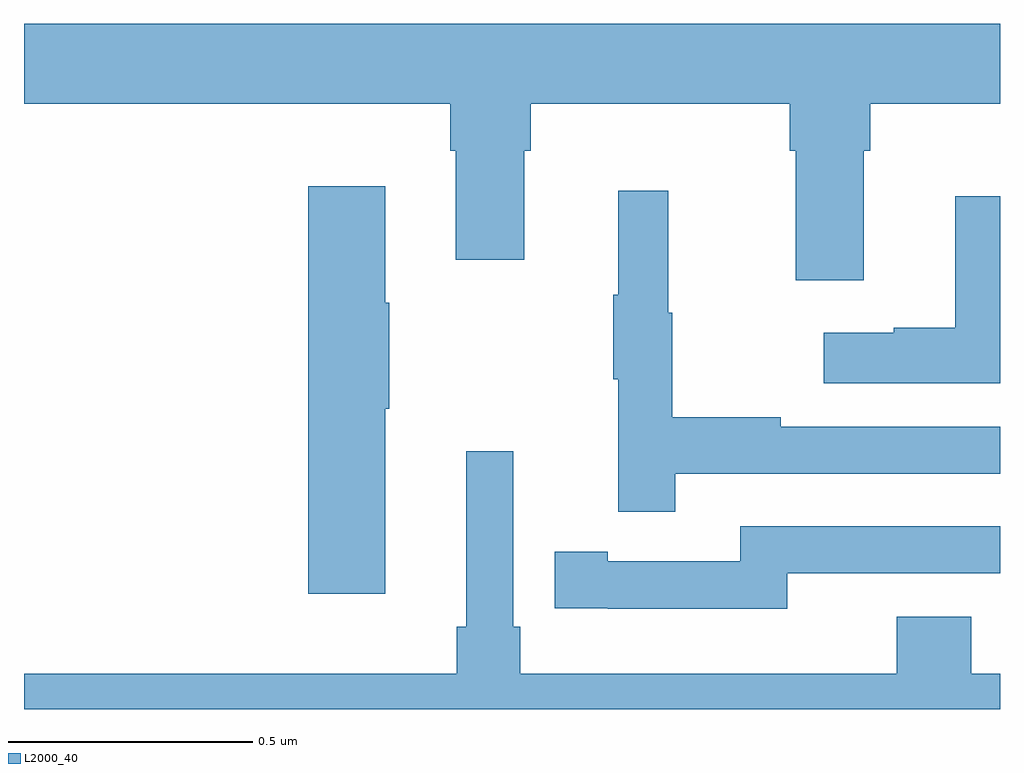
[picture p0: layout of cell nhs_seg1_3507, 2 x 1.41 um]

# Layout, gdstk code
import gdstk
lib = gdstk.Library(unit=1e-6, precision=1e-09)
def P(c, l, *ps):  # polygons
    for p in ps: c.add(gdstk.Polygon(p, *l))
L2000_40 = (2000, 40)

nhs_seg1_3507 = lib.new_cell('nhs_seg1_3507')
P(nhs_seg1_3507, L2000_40, [(155,510.44),(155.873,510.44),(155.873,510.344),(155.885,510.344),(155.885,510.12),(156.025,510.12),(156.025,510.344),(156.038,510.344),(156.038,510.44),(156.569,510.44),(156.569,510.344),(156.581,510.344),(156.581,510.078),(156.721,510.078),(156.721,510.344),(156.734,510.344),(156.734,510.44),(157,510.44),(157,510.604),(155,510.604)],
  [(155.74,509.815),(155.748,509.815),(155.748,510.032),(155.74,510.032),(155.74,510.271),(155.582,510.271),(155.582,509.436),(155.74,509.436)],
  [(156.335,509.682),(157,509.682),(157,509.778),(156.551,509.778),(156.551,509.798),(156.328,509.798),(156.328,510.012),(156.32,510.012),(156.32,510.262),(156.218,510.262),(156.218,510.049),(156.207,510.049),(156.207,509.875),(156.218,509.875),(156.218,509.604),(156.335,509.604)],
  [(157,510.25),(156.908,510.25),(156.908,509.981),(156.782,509.981),(156.782,509.971),(156.639,509.971),(156.639,509.867),(157,509.867)],
  [(157,509.272),(156.941,509.272),(156.941,509.389),(156.788,509.389),(156.788,509.272),(156.017,509.272),(156.017,509.368),(156.003,509.368),(156.003,509.728),(155.906,509.728),(155.906,509.368),(155.887,509.368),(155.887,509.272),(155,509.272),(155,509.199),(157,509.199)],
  [(156.564,509.478),(157,509.478),(157,509.574),(156.468,509.574),(156.468,509.502),(156.196,509.502),(156.196,509.522),(156.088,509.522),(156.088,509.406),(156.196,509.406),(156.196,509.405),(156.564,509.405)])

lib.write_gds('nhs_seg1_3507.gds')
